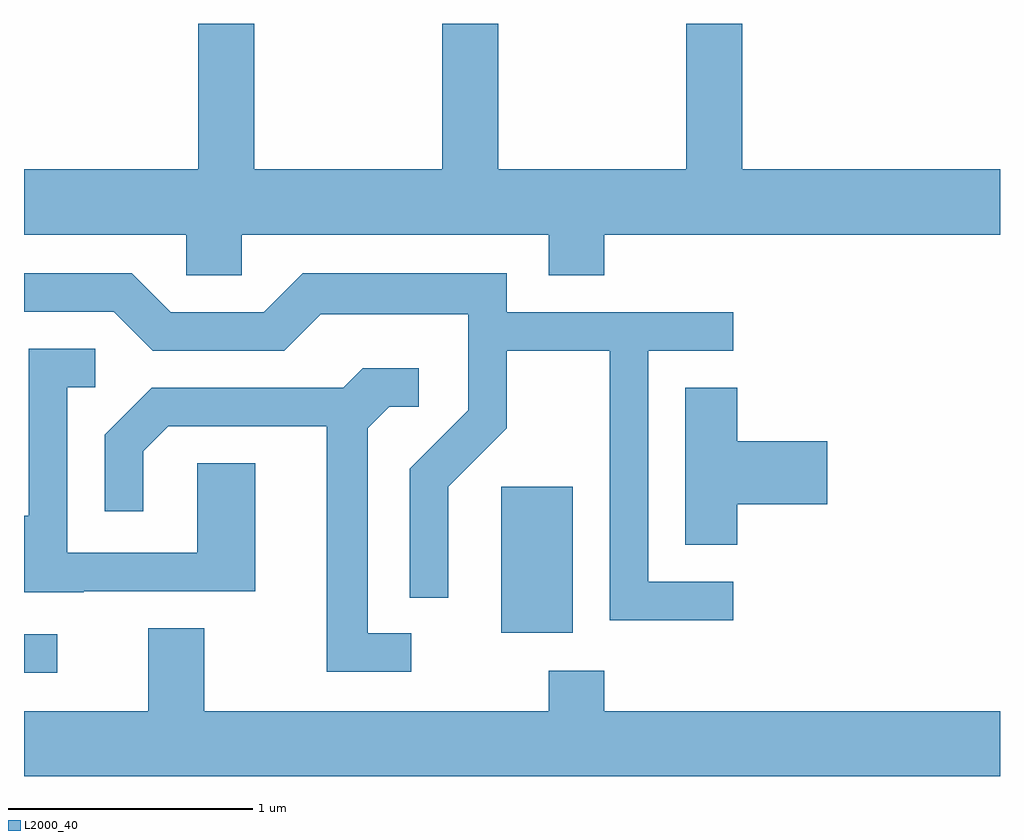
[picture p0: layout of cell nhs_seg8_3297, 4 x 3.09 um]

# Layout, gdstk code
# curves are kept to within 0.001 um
import gdstk
lib = gdstk.Library(unit=1e-6, precision=1e-09)
def R(c, l, rs):  # rectangles x0, y0, x1, y1
    for r in rs: c.add(gdstk.rectangle(r[:2], r[2:], *l))
def P(c, l, *ps):  # polygons
    for p in ps: c.add(gdstk.Polygon(p, *l))
L2000_40 = (2000, 40)

nhs_seg8_3297 = lib.new_cell('nhs_seg8_3297')
R(nhs_seg8_3297, L2000_40, [(283.611,1885.681,283.748,1885.839), (285.566,1885.846,285.859,1886.444)])
P(nhs_seg8_3297, L2000_40, [(284.504,1887.476),(285.761,1887.476),(285.761,1887.311),(285.989,1887.311),(285.989,1887.476),(287.611,1887.476),(287.611,1887.744),(286.554,1887.744),(286.554,1888.342),(286.326,1888.342),(286.326,1887.744),(285.554,1887.744),(285.554,1888.342),(285.326,1888.342),(285.326,1887.744),(284.554,1887.744),(284.554,1888.342),(284.326,1888.342),(284.326,1887.744),(283.611,1887.744),(283.611,1887.476),(284.276,1887.476),(284.276,1887.311),(284.504,1887.311)],
  [(286.518,1886.054),(286.169,1886.054),(286.169,1887.001),(286.518,1887.001),(286.518,1887.159),(285.589,1887.159),(285.589,1887.319),(284.754,1887.319),(284.594,1887.159),(284.212,1887.159),(284.052,1887.319),(283.611,1887.319),(283.611,1887.161),(283.979,1887.161),(284.139,1887.001),(284.677,1887.001),(284.827,1887.151),(285.431,1887.151),(285.431,1886.757),(285.191,1886.517),(285.191,1885.988),(285.349,1885.988),(285.349,1886.444),(285.589,1886.684),(285.589,1887.001),(286.011,1887.001),(286.011,1885.896),(286.518,1885.896)],
  [(283.855,1886.016),(284.559,1886.016),(284.559,1886.539),(284.321,1886.539),(284.321,1886.174),(283.789,1886.174),(283.789,1886.851),(283.903,1886.851),(283.903,1887.009),(283.631,1887.009),(283.631,1886.324),(283.611,1886.324),(283.611,1886.011),(283.855,1886.011)],
  [(285.198,1885.844),(285.019,1885.844),(285.019,1886.684),(285.107,1886.771),(285.228,1886.771),(285.228,1886.929),(284.999,1886.929),(284.919,1886.849),(284.134,1886.849),(283.941,1886.657),(283.941,1886.343),(284.099,1886.343),(284.099,1886.589),(284.202,1886.691),(284.851,1886.691),(284.851,1885.686),(285.198,1885.686)],
  [(286.534,1886.371),(286.904,1886.371),(286.904,1886.629),(286.534,1886.629),(286.534,1886.849),(286.321,1886.849),(286.321,1886.206),(286.534,1886.206)],
  [(287.611,1885.524),(285.989,1885.524),(285.989,1885.689),(285.761,1885.689),(285.761,1885.524),(284.349,1885.524),(284.349,1885.864),(284.121,1885.864),(284.121,1885.524),(283.611,1885.524),(283.611,1885.256),(287.611,1885.256)])

lib.write_gds('nhs_seg8_3297.gds')
